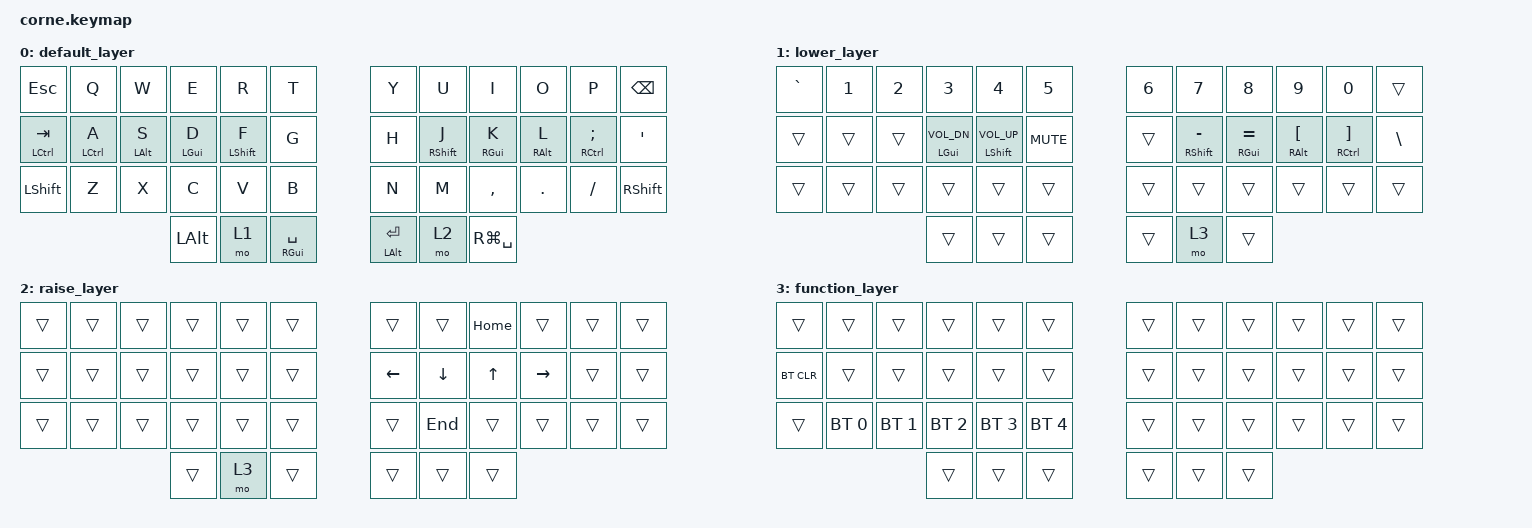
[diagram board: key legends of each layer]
/*
 * Copyright (c) 2020 The ZMK Contributors
 *
 * SPDX-License-Identifier: MIT
 */

#include <behaviors.dtsi>
#include <dt-bindings/zmk/keys.h>
#include <dt-bindings/zmk/bt.h>

/ {
    behaviors {
        hm: homerow_mods {
            compatible = "zmk,behavior-hold-tap";
            #binding-cells = <2>;
            tapping-term-ms = <200>;
            quick-tap-ms = <0>;
            flavor = "balanced";
            bindings = <&kp>, <&kp>;
        };
    };
        keymap {
                compatible = "zmk,keymap";

                default_layer {
// -----------------------------------------------------------------------------------------
// |  ESC  |  Q  |  W  |  E   |  R   |  T   |                   |  Y   |  U    |  I    |  O   |   P   |  BSPC |
// |  CTRL |  A  |  S  |  D   |  F   |  G   |                   |  H   |  J    |  K    |  L   |   ;   |   '   |
// | SHIFT |  Z  |  X  |  C   |  V   |  B   |                   |  N   |  M    |  ,    |  .   |   /   | SHIFT |
//                            | ALT  |  LWR |  SPC |      | ENT | RSE  |  SPOT |
                        bindings = <
&kp ESC        &kp Q        &kp W        &kp E         &kp R         &kp T                            &kp Y  &kp U         &kp I         &kp O        &kp P           &kp BSPC
&hm LCTRL TAB  &hm LCTRL A        &hm LALT S        &hm LGUI D         &hm LSHFT F         &kp G                            &kp H  &hm RSHFT J         &hm RGUI K         &hm RALT L        &hm RCTRL SEMI        &kp SQT
&kp LSHFT      &kp Z        &kp X        &kp C         &kp V         &kp B                            &kp N  &kp M         &kp COMMA     &kp DOT      &kp FSLH        &kp RSHFT
                                                       &kp LALT      &mo 1  &hm RGUI SPACE  &hm LALT RET   &mo 2  &kp RG(SPACE)
                        >;
                };

                lower_layer {
// -----------------------------------------------------------------------------------------
// |   `  |  1  |  2  |  3  |  4  |  5  |   |  6  |  7  |  8  |  9  |  0  |      |
// |      |     |     | VOL-| VOL+| MUTE|   |     |  -  |  =  |  [  |  ]  |  \   |
// |      |     |     |     |     |     |   |     |     |     |     |     |      |
//                    |     |     |     |   |     |     |     |
                        bindings = <
   &kp GRAVE    &kp N1       &kp N2       &kp N3       &kp N4       &kp N5         &kp N6   &kp N7   &kp N8 &kp N9    &kp N0 &trans
   &trans  &trans       &trans       &hm LGUI C_VOL_DN &hm LSHFT C_VOL_UP &kp C_MUTE   &trans &hm RSHFT MINUS &hm RGUI EQUAL &hm RALT LBKT &hm RCTRL RBKT &kp BSLH
   &trans  &trans       &trans       &trans       &trans       &trans         &trans   &trans   &trans &trans    &trans &trans
                          	        &trans     &trans       &trans      &trans  &mo 3   &trans
                        >;
                };

                raise_layer {
// -----------------------------------------------------------------------------------------
// |      |     |     |     |     |     |   |     |     | HOME|     |     |      |
// |      |     |     |     |     |     |   | LEFT| DOWN|  UP |RIGHT|     |      |
// |      |     |     |     |     |     |   |     | END |     |     |     |      |
//                    |     |     |     |   |     |     |     |
                        bindings = <
   &trans   &trans   &trans   &trans   &trans   &trans      &trans   &trans   &kp HOME   &trans   &trans   &trans   
   &trans   &trans   &trans   &trans   &trans   &trans      &kp LEFT   &kp DOWN   &kp UP   &kp RIGHT   &trans   &trans   
   &trans   &trans   &trans   &trans   &trans   &trans      &trans   &kp END   &trans   &trans   &trans   &trans   
                    	      &trans   &mo 3   &trans      &trans   &trans   &trans
                        >;
                };

                function_layer {
// -----------------------------------------------------------------------------------------
// |      |     |     |     |     |     |   |     |     |     |     |     |      |
// | BTCLR|     |     |     |     |     |   |     |     |     |     |     |      |
// |      | BT1 | BT2 | BT3 | BT4 | BT5 |   |     |     |     |     |     |      |
//                    |     |     |     |   |     |     |     |
                        bindings = <
   &trans   &trans   &trans   &trans   &trans   &trans      &trans   &trans   &trans   &trans   &trans   &trans   
   &bt BT_CLR   &trans   &trans   &trans   &trans   &trans      &trans   &trans   &trans   &trans   &trans   &trans   
   &trans  &bt BT_SEL 0       &bt BT_SEL 1       &bt BT_SEL 2       &bt BT_SEL 3       &bt BT_SEL 4         &trans   &trans   &trans &trans    &trans &trans
                    	      &trans   &trans   &trans      &trans   &trans   &trans
                        >;
                };
        };
};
